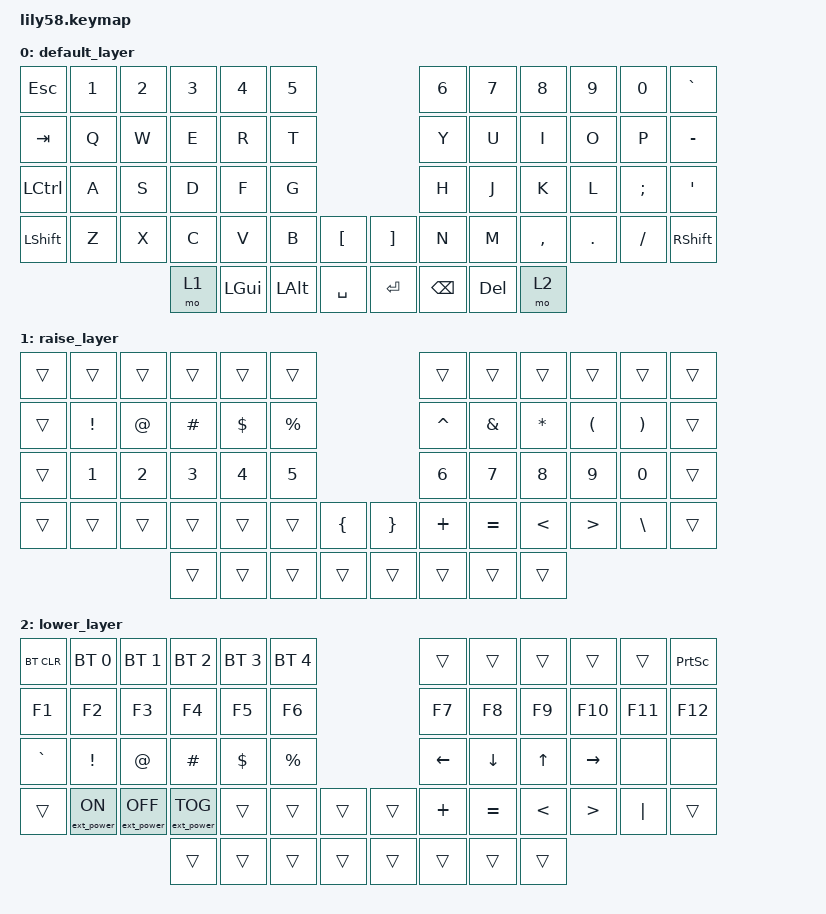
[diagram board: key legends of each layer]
/*
 * Copyright (c) 2020 The ZMK Contributors
 *
 * SPDX-License-Identifier: MIT
 */

#include <behaviors.dtsi>
#include <dt-bindings/zmk/bt.h>
#include <dt-bindings/zmk/ext_power.h>
#include <dt-bindings/zmk/keys.h>

/ {
    combos {
        compatible = "zmk,combos";

        combo_esc {
            timeout-ms = <50>;
            key-positions = <0 1>;
            bindings = <&kp ESC>;
        };
    };

    behaviors {
        ss_hs_modmorph: ss_hs_modmorph {
            compatible = "zmk,behavior-mod-morph";
            label = "SS_HS_MODMORPH";
            bindings = <&kp M>, <&kp RIGHT_BRACKET>;

            #binding-cells = <0>;
            mods = <(MOD_LSFT|MOD_RSFT)>;
        };

        kh_hs_tapdance: kh_hs_tapdance {
            compatible = "zmk,behavior-tap-dance";
            label = "KH_HS_TAPDANCE";
            #binding-cells = <0>;
            tapping-term-ms = <200>;
            bindings = <&kp LEFT_BRACKET>, <&kp RIGHT_BRACKET>;
        };

        hrm: hrm {
            compatible = "zmk,behavior-hold-tap";
            #binding-cells = <2>;
            flavor = "tap-preferred";
            tapping-term-ms = <200>;
            quick-tap-ms = <200>;
            require-prior-idle-ms = <125>;
            bindings = <&kp>, <&kp>;
        };
    };

    keymap {
        compatible = "zmk,keymap";

        default_layer {
            // ------------------------------------------------------------------------------------------------------------
            // |  ESC  |  1  |  2  |  3   |  4   |  5   |                   |  6   |  7    |  8    |  9   |   0   |   `   |
            // |  TAB  |  Q  |  W  |  E   |  R   |  T   |                   |  Y   |  U    |  I    |  O   |   P   |   -   |
            // |  CTRL |  A  |  S  |  D   |  F   |  G   |                   |  H   |  J    |  K    |  L   |   ;   |   '   |
            // | SHIFT |  Z  |  X  |  C   |  V   |  B   |   "["  |  |  "]"  |  N   |  M    |  ,    |  .   |   /   | SHIFT |
            //                     | ALT  | GUI  | LOWER|  SPACE |  | ENTER | RAISE| BSPC  | GUI   |

            bindings = <
&kp ESC    &kp N1  &kp N2  &kp N3  &kp N4    &kp N5                           &kp N6         &kp N7      &kp N8     &kp N9   &kp N0    &kp GRAVE
&kp TAB    &kp Q   &kp W   &kp E   &kp R     &kp T                            &kp Y          &kp U       &kp I      &kp O    &kp P     &kp MINUS
&kp LCTRL  &kp A   &kp S   &kp D   &kp F     &kp G                            &kp H          &kp J       &kp K      &kp L    &kp SEMI  &kp SQT
&kp LSHFT  &kp Z   &kp X   &kp C   &kp V     &kp B     &kp LBKT     &kp RBKT  &kp N          &kp M       &kp COMMA  &kp DOT  &kp FSLH  &kp RSHFT
                           &mo 1   &kp LGUI  &kp LALT  &kp SPACE    &kp RET   &kp BACKSPACE  &kp DELETE  &mo 2
            >;
        };

        raise_layer {
            // ------------------------------------------------------------------------------------------------------------
            // |       |     |     |      |      |      |                   |      |       |       |      |       |       |
            // |   `   |  1  |  2  |  3   |  4   |  5   |                   |  6   |   7   |   8   |  9   |   0   |       |
            // |   F1  |  F2 |  F3 |  F4  |  F5  |  F6  |                   |      |   <-  |   v   |  ^   |  ->   |       |
            // |   F7  |  F8 |  F9 |  F10 |  F11 |  F12 |        |  |       |  +   |   -   |   =   |  [   |   ]   |   \   |
            //                     |      |      |      |        |  |       |      |       |       |

            bindings = <
&trans  &trans           &trans        &trans        &trans        &trans                                           &trans        &trans        &trans         &trans            &trans         &trans
&trans  &kp EXCLAMATION  &kp AT        &kp HASH      &kp DLLR      &kp PRCNT                                        &kp CARET     &kp AMPS      &kp STAR       &kp LPAR          &kp RPAR       &trans
&trans  &kp NUMBER_1     &kp NUMBER_2  &kp NUMBER_3  &kp NUMBER_4  &kp NUMBER_5                                     &kp NUMBER_6  &kp NUMBER_7  &kp NUMBER_8   &kp NUMBER_9      &kp NUMBER_0   &trans
&trans  &trans           &trans        &trans        &trans        &trans        &kp LEFT_BRACE    &kp RIGHT_BRACE  &kp PLUS      &kp EQUAL     &kp LESS_THAN  &kp GREATER_THAN  &kp BACKSLASH  &trans
                                       &trans        &trans        &trans        &trans            &trans           &trans        &trans        &trans
            >;
        };

        lower_layer {
            // ------------------------------------------------------------------------------------------------------------
            // | BTCLR | BT1 | BT2 |  BT3 |  BT4 |  BT5 |                   |      |       |       |      |       |       |
            // |  F1   |  F2 |  F3 |  F4  |  F5  |  F6  |                   |  F7  |  F8   |  F9   |  F10 |  F11  |  F12  |
            // |   `   |  !  |  @  |  #   |  $   |  %   |                   |  ^   |  &    |  *    |  (   |   )   |   ~   |
            // |       |     |     |      |      |      |        |  |       |      |  _    |  +    |  {   |   }   |  "|"  |
            //                     |      |      |      |        |  |       |      |       |       |

            bindings = <
&bt BT_CLR  &bt BT_SEL 0      &bt BT_SEL 1       &bt BT_SEL 2       &bt BT_SEL 3  &bt BT_SEL 4                    &trans    &trans     &trans  &trans     &trans    &kp PRINTSCREEN
&kp F1      &kp F2            &kp F3             &kp F4             &kp F5        &kp F6                          &kp F7    &kp F8     &kp F9  &kp F10    &kp F11   &kp F12
&kp GRAVE   &kp EXCL          &kp AT             &kp HASH           &kp DOLLAR    &kp PRCNT                       &kp LEFT  &kp DOWN   &kp UP  &kp RIGHT  &none     &none
&trans      &ext_power EP_ON  &ext_power EP_OFF  &ext_power EP_TOG  &trans        &trans        &trans    &trans  &kp PLUS  &kp EQUAL  &kp LT  &kp GT     &kp PIPE  &trans
                                                 &trans             &trans        &trans        &trans    &trans  &trans    &trans     &trans
            >;
        };
    };
};
